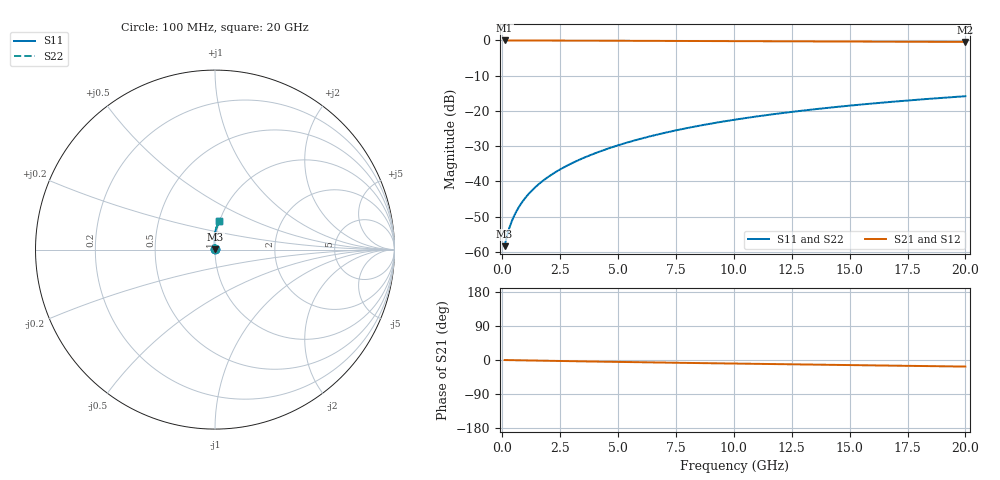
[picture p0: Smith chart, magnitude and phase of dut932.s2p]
! Touchstone file exported from HFSS 2024.1.0
!  File:  C:/UserFiles/LocalFiles/RDL_TSV_Batchsim/temp_RDL_top_932_1779937086.aedt
!  Generated:  11:00:43 AM May 28, 2026
!  Design:  RDL_top
!  Project:  temp_RDL_top_932_1779937086
!  Setup:  Setup1
!  Solution:  Sweep
! Variables:
!  dtsv = 10.80580581um
!  hbump = 3um
!  htsv = 54.21um
!  ldown = 100um
!  lrdl = 239.95um
!  p = 40
!  p1 = 51.07um
!  rhole = 1um
!  t = 450um
!  tdown = 3.915915916um
!  trdl = 3.81um
!  wdown = 15.38538539um
!  wrdl = 29.19um
# GHz S MA R 50.000000
! Terminal data exported
! Port[1] = Box2_T1
! Port[2] = Box2_T2
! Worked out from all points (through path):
!   200 points, 100 MHz to 20 GHz, reference 50 ohm
!   highest |S21| = -0.01 dB at 100 MHz (marker M1); lowest = -0.4 dB at 20 GHz (marker M2)
!   group delay of S21, straight-line fit = 2.36 ps
!   lowest |S11| = -58.3 dB at 100 MHz (marker M3), VSWR 1.00, Z = 50.1 + j0.0676 ohm
!   |S11| at or under -10 dB: start of sweep to end of sweep
!   |S22| runs from -58.3 to -15.8 dB; largest |S21 - S12| = 3.2e-15
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0.1  0.00121 33.9  0.999 -0.1  0.999 -0.1  0.00121 33.9
! Gamma 0 0 0 0
! Port Impedance 50 0 50 0
0.2  0.001681 50.3  0.9989 -0.2  0.9989 -0.2  0.001681 50.3
0.3  0.002181 58.9  0.9988 -0.3  0.9988 -0.3  0.002181 58.9
0.4  0.002686 64.6  0.9987 -0.4  0.9987 -0.4  0.002686 64.6
0.5  0.003198 68.8  0.9986 -0.5  0.9986 -0.5  0.003198 68.8
0.6  0.003719 72.0  0.9986 -0.6  0.9986 -0.6  0.003719 72.0
0.8  0.004787 76.8  0.9984 -0.9  0.9984 -0.9  0.004787 76.8
1.1  0.006445 81.4  0.9981 -1.2  0.9981 -1.2  0.006445 81.4
1.3  0.00758 83.6  0.9979 -1.4  0.9979 -1.4  0.00758 83.6
1.6  0.009322 86.1  0.9975 -1.7  0.9975 -1.7  0.009323 86.1
2.1  0.01233 89.0  0.9966 -2.2  0.9966 -2.2  0.01233 89.0
2.7  0.01613 91.4  0.9954 -2.8  0.9954 -2.8  0.01613 91.4
3.5  0.02152 93.5  0.9934 -3.6  0.9934 -3.6  0.02152 93.5
4.2  0.02653 94.5  0.9915 -4.3  0.9915 -4.3  0.02653 94.5
5  0.03258 95.2  0.9892 -5.1  0.9892 -5.1  0.03258 95.2
5.9  0.03972 95.3  0.9865 -5.9  0.9865 -5.9  0.03972 95.3
6.8  0.04714 95.1  0.9839 -6.7  0.9839 -6.7  0.04714 95.1
8.4  0.06083 94.0  0.9793 -8.0  0.9793 -8.0  0.06083 94.0
10.1  0.07574 92.3  0.9748 -9.5  0.9748 -9.5  0.07574 92.3
13.4  0.1049 88.6  0.9668 -12.1  0.9668 -12.1  0.1049 88.6
16.7  0.1337 84.8  0.9596 -14.8  0.9596 -14.8  0.1337 84.8
20  0.1618 81.2  0.9525 -17.4  0.9525 -17.4  0.1618 81.2
